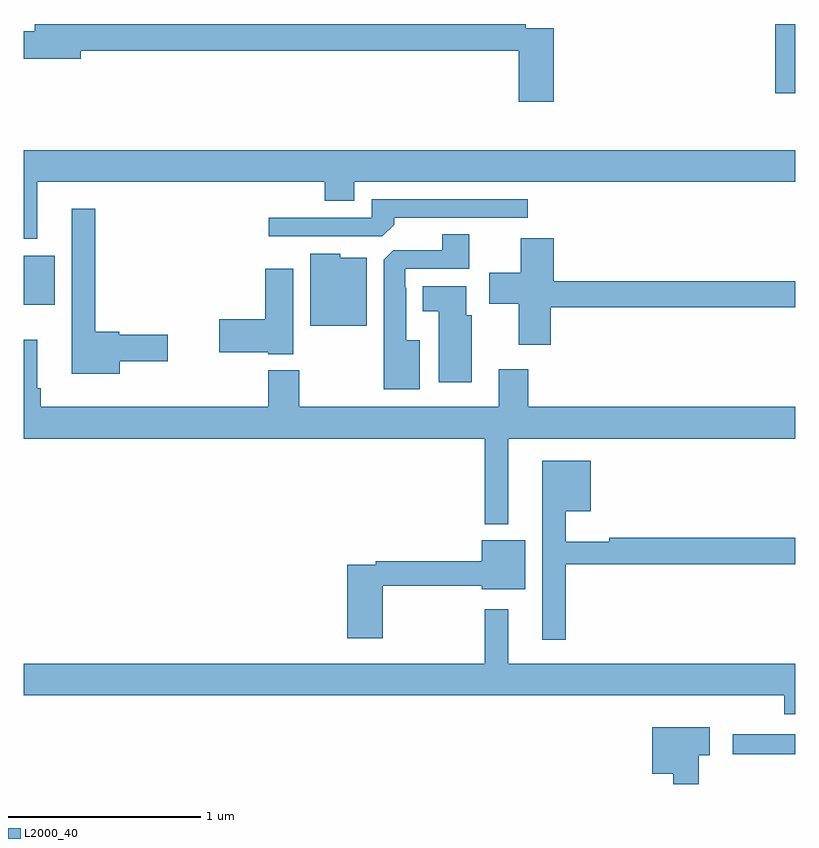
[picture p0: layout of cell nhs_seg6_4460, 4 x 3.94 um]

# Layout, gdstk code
import gdstk
lib = gdstk.Library(unit=1e-6, precision=1e-09)
def R(c, l, rs):  # rectangles x0, y0, x1, y1
    for r in rs: c.add(gdstk.rectangle(r[:2], r[2:], *l))
def P(c, l, *ps):  # polygons
    for p in ps: c.add(gdstk.Polygon(p, *l))
L2000_40 = (2000, 40)

nhs_seg6_4460 = lib.new_cell('nhs_seg6_4460')
R(nhs_seg6_4460, L2000_40, [(376.677,989.654,377,989.758), (373,991.985,373.159,992.239), (376.898,993.082,377,993.442)])
P(nhs_seg6_4460, L2000_40, [(375.749,993.42),(375.602,993.42),(375.602,993.44),(373.055,993.44),(373.055,993.404),(373,993.404),(373,993.262),(373.294,993.262),(373.294,993.304),(375.566,993.304),(375.566,993.039),(375.749,993.039)],
  [(373.069,992.624),(374.561,992.624),(374.561,992.525),(374.713,992.525),(374.713,992.624),(377,992.624),(377,992.788),(373,992.788),(373,992.328),(373.069,992.328)],
  [(374.921,992.402),(374.921,992.436),(375.613,992.436),(375.613,992.532),(374.805,992.532),(374.805,992.436),(374.271,992.436),(374.271,992.34),(374.859,992.34)],
  [(373.498,991.694),(373.747,991.694),(373.747,991.829),(373.494,991.829),(373.494,991.847),(373.369,991.847),(373.369,992.485),(373.247,992.485),(373.247,991.628),(373.498,991.628)],
  [(375.052,991.801),(374.983,991.801),(374.983,992.075),(374.979,992.075),(374.979,992.172),(375.31,992.172),(375.31,992.351),(375.17,992.351),(375.17,992.268),(374.916,992.268),(374.867,992.219),(374.867,991.547),(375.052,991.547)],
  [(375.732,991.972),(377,991.972),(377,992.108),(375.749,992.108),(375.749,992.332),(375.578,992.332),(375.578,992.152),(375.414,992.152),(375.414,991.99),(375.566,991.99),(375.566,991.779),(375.732,991.779)],
  [(374.779,992.23),(374.64,992.23),(374.64,992.251),(374.486,992.251),(374.486,991.877),(374.779,991.877)],
  [(374.398,992.173),(374.252,992.173),(374.252,991.91),(374.013,991.91),(374.013,991.739),(374.268,991.739),(374.268,991.73),(374.398,991.73)],
  [(375.322,991.932),(375.295,991.932),(375.295,992.083),(375.068,992.083),(375.068,991.952),(375.152,991.952),(375.152,991.584),(375.322,991.584)],
  [(375.511,991.292),(377,991.292),(377,991.456),(375.617,991.456),(375.617,991.651),(375.464,991.651),(375.464,991.456),(374.427,991.456),(374.427,991.645),(374.267,991.645),(374.267,991.456),(373.087,991.456),(373.087,991.552),(373.069,991.552),(373.069,991.804),(373,991.804),(373,991.292),(375.39,991.292),(375.39,990.848),(375.511,990.848)],
  [(375.811,990.64),(377,990.64),(377,990.776),(376.036,990.776),(376.036,990.757),(375.811,990.757),(375.811,990.914),(375.94,990.914),(375.94,991.177),(375.689,991.177),(375.689,990.249),(375.811,990.249)],
  [(374.861,990.528),(375.374,990.528),(375.374,990.509),(375.601,990.509),(375.601,990.763),(375.374,990.763),(375.374,990.656),(374.824,990.656),(374.824,990.636),(374.678,990.636),(374.678,990.255),(374.861,990.255)],
  [(377,990.124),(375.511,990.124),(375.511,990.406),(375.39,990.406),(375.39,990.124),(373,990.124),(373,989.96),(376.943,989.96),(376.943,989.861),(377,989.861)],
  [(376.501,989.65),(376.558,989.65),(376.558,989.794),(376.259,989.794),(376.259,989.552),(376.367,989.552),(376.367,989.5),(376.501,989.5)])

lib.write_gds('nhs_seg6_4460.gds')
